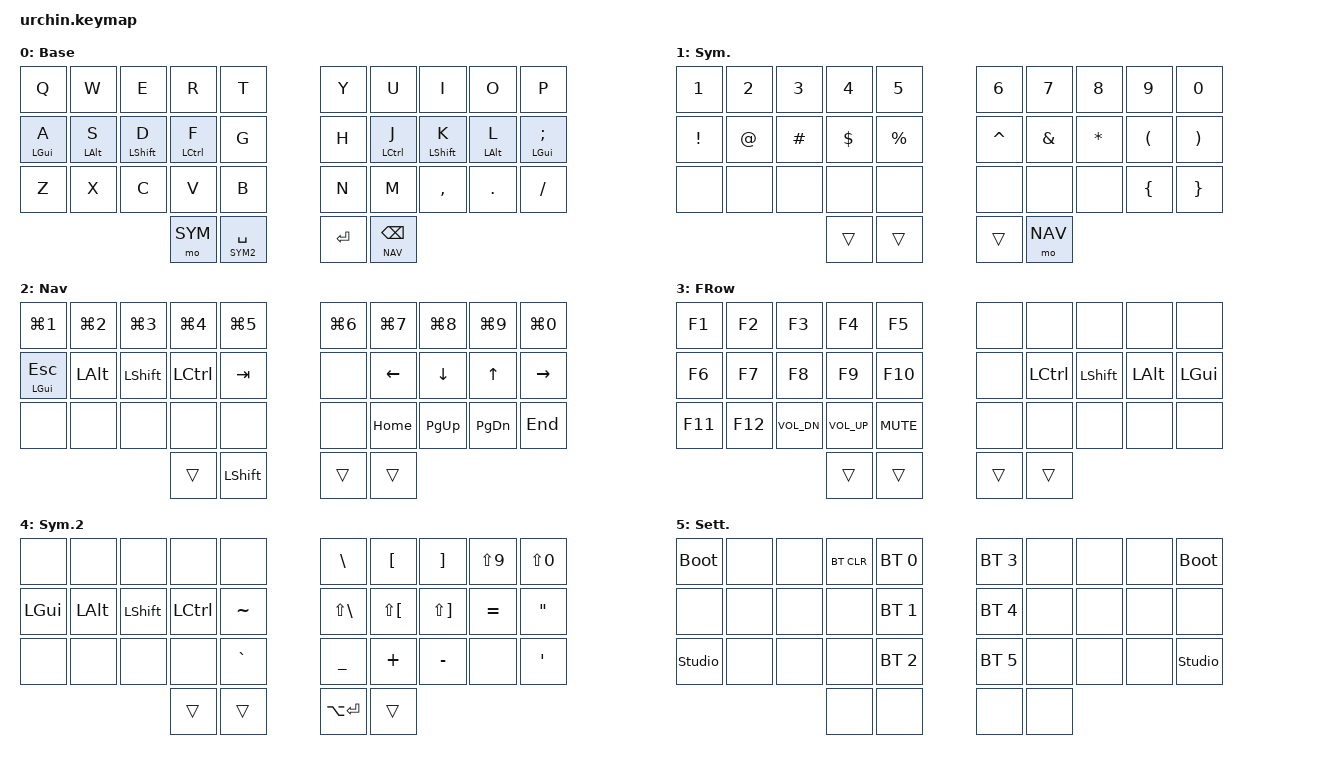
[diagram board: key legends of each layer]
#include <behaviors.dtsi>
#include <dt-bindings/zmk/keys.h>
#include <dt-bindings/zmk/bt.h>
#include <dt-bindings/zmk/outputs.h>

// Layer definitions
#define BASE 0
#define SYM 1
#define NAV 2
#define FNC 3
#define SYM2 4
#define SETTINGS 5
// -----------------

&sk {
	// don't release mods on other mods presses
	ignore-modifiers;
};


/ {
	behaviors {
          mt: mod_tap {
             compatible = "zmk,behavior-hold-tap";
             #binding-cells = <2>;
             flavor = "balanced";
             tapping-term-ms = <150>;
	     quick-tap-ms = <150>;
             bindings = <&kp>, <&kp>;
             display-name = "Mod-Tap";
           };

	  lt: layer_tap {
            compatible = "zmk,behavior-hold-tap";
            #binding-cells = <2>;
            flavor = "tap-preferred";
            tapping-term-ms = <150>;
 	    quick-tap-ms = <200>;
            bindings = <&mo>, <&kp>;
            display-name = "Layer-Tap";
          };
        };

	conditional_layers {
		compatible = "zmk,conditional-layers";
	        tri_layer {
		    if-layers = <1 2>;
	            then-layer = <3>;
		};
	};

	combos {
		compatible = "zmk,combos";
		// both middle thumb keys
		combo_settings {
			timeout-ms = <200>;
			key-positions = <31 32>;
			bindings = <&mo SETTINGS>;
		};
	};

	keymap {
		compatible = "zmk,keymap";
		// Base alpha layer
		default_layer {
			label = "Base";
			bindings = <
			&kp Q	   &kp W      &kp E        &kp R       &kp T	   &kp Y &kp U        &kp I        &kp O      &kp P 
			&mt LGUI A &mt LALT S &mt LSHIFT D &mt LCTRL F &kp G       &kp H &mt LCTRL J  &mt LSHIFT K &mt LALT L &mt LGUI SEMICOLON
			&kp Z      &kp X      &kp C       &kp V       &kp B	   &kp N &kp M        &kp COMMA    &kp DOT    &kp SLASH
						     &mo SYM &lt SYM2 SPACE     &kp ENTER &lt NAV BACKSPACE
			>;
		};

		// Numbers and high frequency symbols
		sym_layer {
			label = "Sym.";
			bindings = <
			&kp N1          &kp N2 &kp N3   &kp N4     &kp N5	    &kp N6    &kp N7        &kp N8       &kp N9               &kp N0
			&kp EXCLAMATION &kp AT &kp HASH &kp DOLLAR &kp PERCENT      &kp CARET &kp AMPERSAND &kp ASTERISK &kp LEFT_PARENTHESIS &kp RIGHT_PARENTHESIS
			&none           &none  &none    &none      &none 	    &none     &none         &none        &kp LEFT_BRACE       &kp RIGHT_BRACE
							          &trans  &trans    &trans &mo NAV
			>;
		};

		// Main modifiers and arrow keys
		nav_layer {
			label = "Nav";
			bindings = <
			&kp LG(N1)   &kp LG(N2) &kp LG(N3)  &kp LG(N4)  &kp LG(N5)    	&kp LG(N6)  &kp LG(N7) &kp LG(N8)  &kp LG(N9)    &kp LG(N0)
			&mt LGUI ESC &kp LALT   &kp LSHIFT  &kp LCTRL   &kp TAB 	&none       &kp LEFT   &kp DOWN    &kp UP        &kp RIGHT
			&none        &none      &none       &none       &none           &none       &kp HOME   &kp PAGE_UP &kp PAGE_DOWN &kp END
							     &trans &kp LSHIFT    &trans  &trans 
			>;
		};

		// Function keys with modifiers
		fnc_layer {
			label = "FRow";
			bindings = <
			&kp F1  &kp F2  &kp F3       &kp F4       &kp F5        &none &none &none &none &none 
			&kp F6  &kp F7  &kp F8       &kp F9       &kp F10	&none &kp LCTRL &kp LSHIFT &kp LALT &kp LGUI
			&kp F11 &kp F12 &kp K_VOL_DN &kp K_VOL_UP &kp C_MUTE	&none &none &none &none &none 
							  &trans &trans              &trans &trans 
			>;
		};

		// Low frequency symbols.
		symbols_2_layer {
			label = "Sym.2";
			bindings = <
			&none    &none    &none      &none     &none         &kp BACKSLASH     &kp LEFT_BRACKET     &kp RIGHT_BRACKET     &kp LS(N9) &kp LS(N0)
			&kp LGUI &kp LALT &kp LSHIFT &kp LCTRL &kp TILDE     &kp LS(BACKSLASH) &kp LS(LEFT_BRACKET) &kp LS(RIGHT_BRACKET) &kp EQUAL  &kp DOUBLE_QUOTES
			&none 	 &none 	  &none      &none     &kp GRAVE     &kp UNDERSCORE    &kp PLUS	            &kp MINUS             &none      &kp SINGLE_QUOTE
							&trans &trans        &kp LA(ENTER) &trans
			>;
		};

		// Used to change the keyboard's settings.
		settings_layer {
				label = "Sett.";
				bindings = <
				&bootloader &none &none &bt BT_CLR &bt BT_SEL 0               &bt BT_SEL 3 &none &none &none &bootloader 
				&none &none &none &none &bt BT_SEL 1 	      &bt BT_SEL 4 &none &none &none &none
				&studio_unlock &none &none &none      &bt BT_SEL 2               &bt BT_SEL 5 &none &none &none &studio_unlock
										&none &none                         &none &none 
				>;
		};
	};
};
